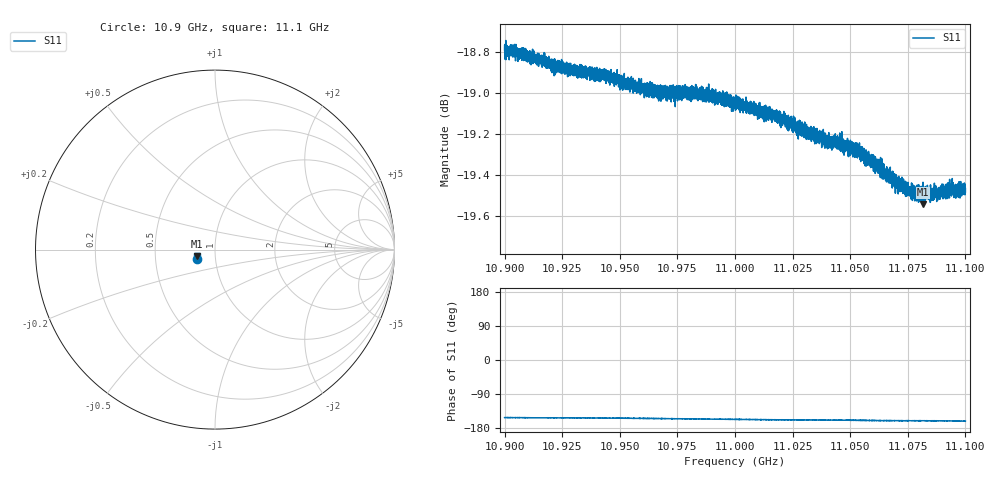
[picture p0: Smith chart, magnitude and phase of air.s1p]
[Version] 2.0
! Rohde & Schwarz Vector Network Analyzer
! Rohde-Schwarz,ZNL20-2Port,1323001220200009,1.71.1.10-23.02.1.238
! Port Assignments:
! Nominal Port -> Actual Test Port
!  1 -> 1
! Created: GMT 2024-09-05 14:38:42
# Hz S DB R 50
[Number of Ports] 1
! freq[Hz]  S11[mag dB]  S11[ang]
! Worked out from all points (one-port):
!   10001 points, 10.9 GHz to 11.1 GHz, reference 50 ohm
!   lowest |S11| = -19.5 dB at 11.082 GHz (marker M1), VSWR 1.24, Z = 40.9 - j2.93 ohm
!   |S11| at or under -10 dB: start of sweep to end of sweep
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[Number of Frequencies] 28
[Network Data]
1.09e10  -18.79 -152.0
1.09077e10  -18.80 -152.1
1.092288e10  -18.87 -152.6
1.0925e10  -18.87 -152.7
1.094428e10  -18.93 -153.3
1.095e10  -18.98 -153.3
1.09615e10  -19.00 -154.2
1.096454e10  -19.01 -154.3
1.096786e10  -19.00 -154.6
1.0975e10  -18.97 -155.0
1.098884e10  -19.02 -156.0
1.1e10  -19.04 -156.5
1.10145e10  -19.12 -157.6
1.1025e10  -19.17 -158.0
1.103264e10  -19.17 -158.3
1.103934e10  -19.21 -158.5
1.104386e10  -19.26 -158.5
1.104704e10  -19.28 -158.8
1.105e10  -19.26 -159.1
1.10593e10  -19.30 -159.4
1.106796e10  -19.42 -159.9
1.1075e10  -19.48 -160.2
1.107734e10  -19.50 -160.2
1.108164e10  -19.54 -160.4
1.109128e10  -19.47 -160.6
1.109316e10  -19.42 -160.8
1.109606e10  -19.47 -160.9
1.11e10  -19.46 -161.5
[End]
